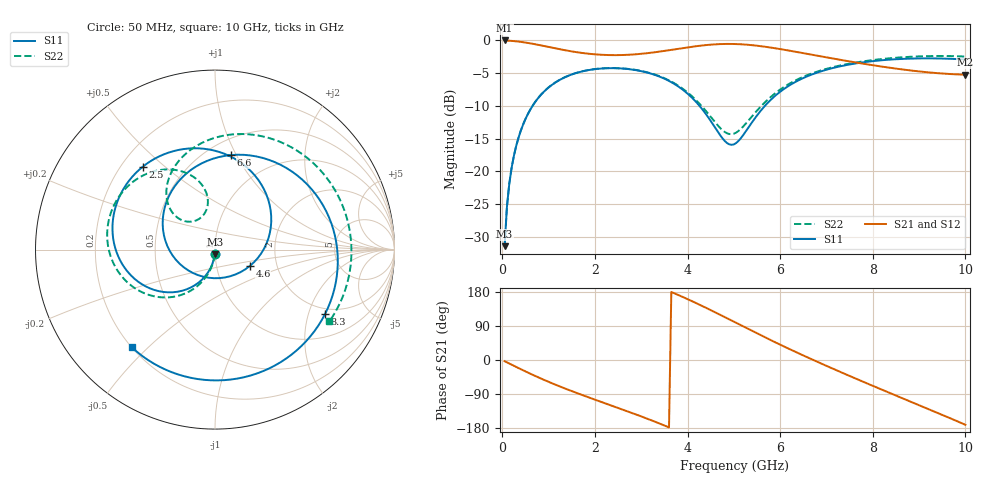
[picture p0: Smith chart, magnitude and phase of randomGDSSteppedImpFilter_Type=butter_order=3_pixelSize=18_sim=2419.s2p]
! freq	dB(S11)	phase(S11)	dB(S12)	phase(S12)
!  dB(S21)	phase(S21)	dB(S22)	phase(S22)
!S-par simulation data
#  GHz  S  DB  R 50
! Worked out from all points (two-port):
!   200 points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, 50 MHz to 10 GHz, reference 50 ohm
!   highest |S21| = -0.01 dB at 50 MHz (marker M1); lowest = -5.2 dB at 10 GHz (marker M2)
!   |S21| within 3 dB of the highest: start of sweep to 7.332 GHz
!   lowest |S11| = -31.4 dB at 50 MHz (marker M3), VSWR 1.06, Z = 49.8 - j2.67 ohm
!   |S11| at or under -10 dB: start of sweep to 653.6 MHz; 4.259 GHz to 5.671 GHz (1.412 GHz wide, 28.4 % of centre)
!   |S22| runs from -31.4 to -2.4 dB; largest |S21 - S12| = 0
!   S11 on the Smith chart (normalised r, x): 50 MHz: 1.00, -0.05; 2.5 GHz: 0.29, +0.42; 4.6 GHz: 1.45, -0.28; 6.6 GHz: 0.65, +0.95; 8.3 GHz: 1.77, -2.57; 10 GHz: 0.20, -0.45
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0.05  -31.42 -93.4  -0.01 -3.1  -0.01 -3.1  -31.43 -93.0
0.1  -25.43 -96.9  -0.02 -6.2  -0.02 -6.2  -25.43 -96.1
0.2  -19.51 -103.6  -0.07 -12.3  -0.07 -12.3  -19.51 -102.1
0.5  -12.01 -122.6  -0.32 -30.1  -0.32 -30.1  -12.01 -118.8
1.05  -6.91 -154.8  -1.07 -60.2  -1.07 -60.2  -6.89 -146.6
1.75  -4.69 168.6  -1.94 -93.5  -1.94 -93.5  -4.68 -176.6
2.5  -4.26 131.2  -2.25 -126.4  -2.25 -126.4  -4.24 155.2
3.4  -5.54 81.4  -1.71 -167.9  -1.71 -167.9  -5.48 123.2
4.05  -8.44 34.9  -1.01 157.9  -1.01 157.9  -8.24 103.0
4.6  -13.37 -25.1  -0.60 125.6  -0.60 125.6  -12.54 100.8
5.05  -15.67 -113.4  -0.56 97.9  -0.56 97.9  -14.08 126.9
5.4  -12.43 -172.3  -0.73 76.3  -0.73 76.3  -11.54 139.3
5.8  -9.05 144.3  -1.10 52.2  -1.10 52.2  -8.61 135.3
6.2  -6.87 110.4  -1.56 28.9  -1.56 28.9  -6.61 123.8
6.6  -5.44 80.2  -2.08 6.4  -2.08 6.4  -5.26 109.8
6.7  -5.16 73.1  -2.20 0.9  -2.20 0.9  -5.00 106.1
7.1  -4.28 45.4  -2.72 -20.9  -2.72 -20.9  -4.15 90.9
7.55  -3.61 15.9  -3.27 -44.8  -3.27 -44.8  -3.48 73.4
8.3  -2.97 -30.4  -4.11 -83.6  -4.11 -83.6  -2.77 43.0
8.35  -2.94 -33.4  -4.16 -86.2  -4.16 -86.2  -2.73 40.9
9.2  -2.74 -83.1  -4.88 -129.4  -4.88 -129.4  -2.40 4.5
10  -2.91 -130.3  -5.24 -171.0  -5.24 -171.0  -2.47 -32.1
